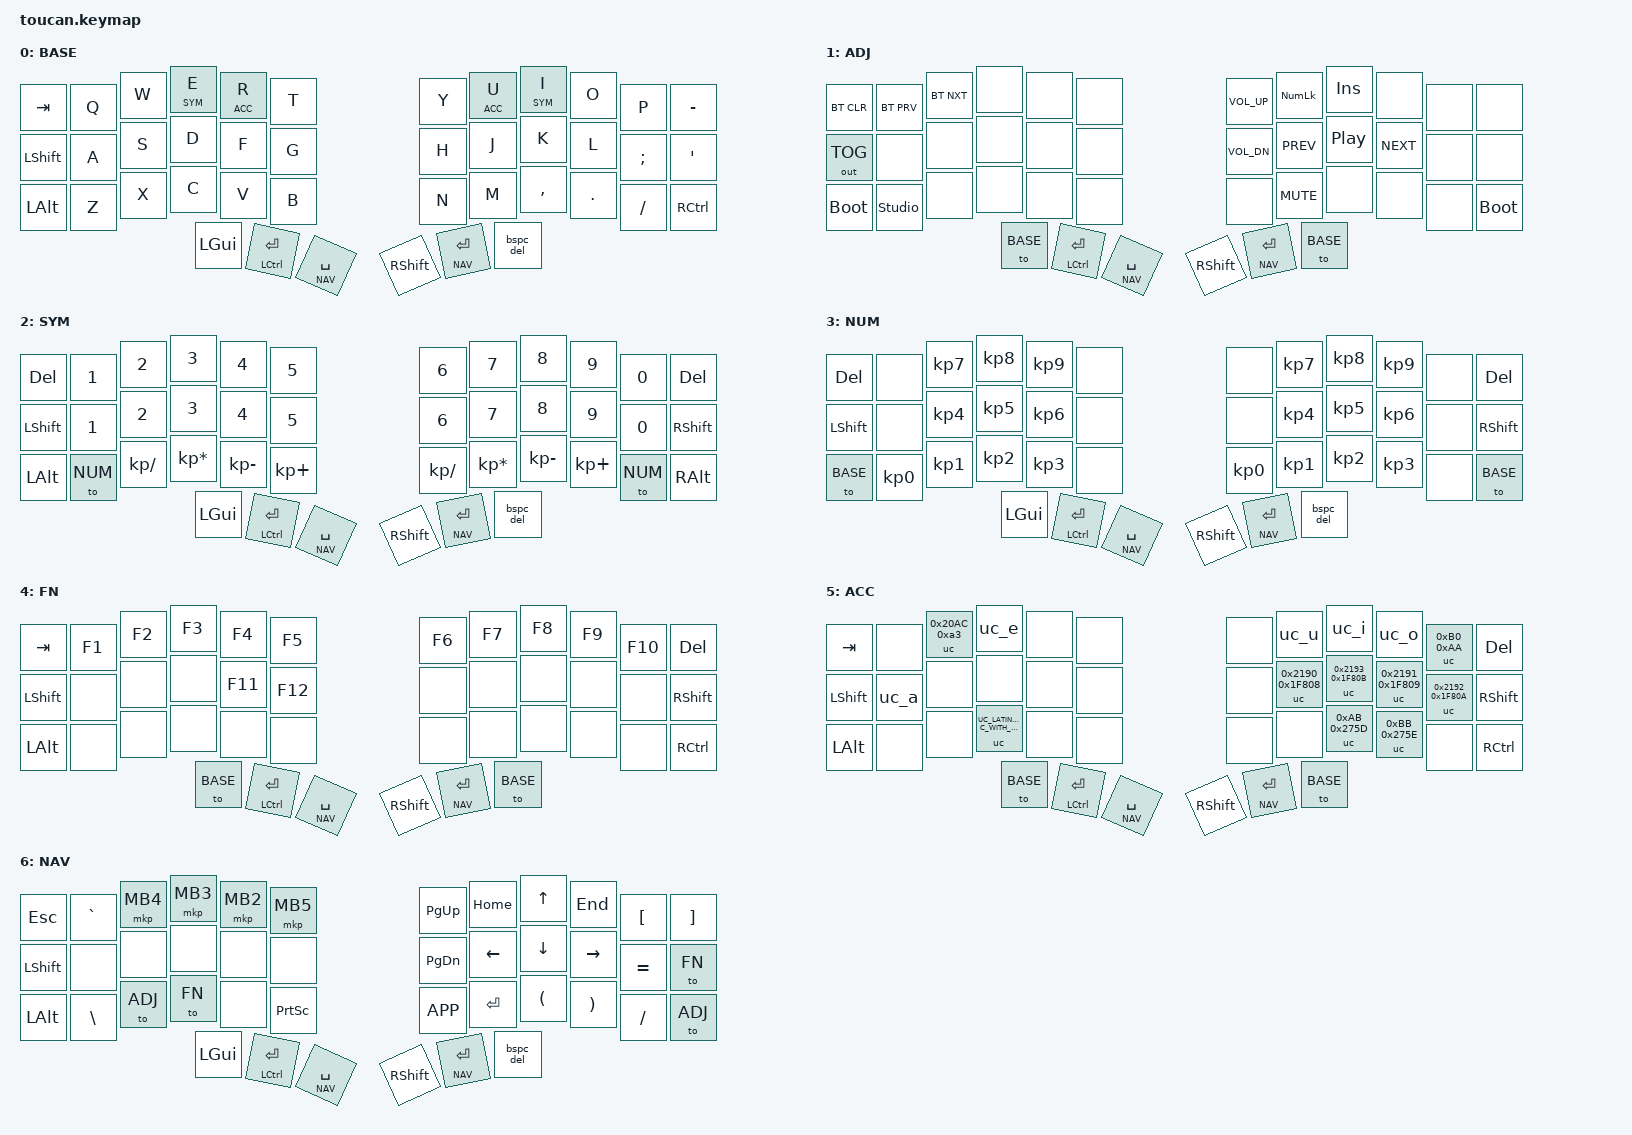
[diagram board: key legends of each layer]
#include <behaviors.dtsi>
#include <dt-bindings/zmk/keys.h>
#include <dt-bindings/zmk/bt.h>
#include <dt-bindings/zmk/outputs.h>
#include <dt-bindings/zmk/behaviors.h>
#include <dt-bindings/zmk/mouse.h>
#include "zmk-helpers/helper.h"
#include <behaviors/unicode.dtsi>
#include <zmk-unicode/keys-full.h>

#define BASE 0
#define ADJ  1
#define SYM  2
#define NUM  3
#define FN   4
#define ACC  5
#define NAV  6

#define _____ &trans
#define XXXXX &none

// Define mod-morph with a *single* mod trigger for less repetition.
#define SYMMETRIC_MORPH(NAME, MOD, BINDING1, BINDING2)                            \
  ZMK_MOD_MORPH(NAME, mods = <(MOD_L##MOD | MOD_R##MOD)>;                      \
                bindings = <BINDING1>, <BINDING2>;)

// TRI-MORPH
#define TRI_MORPH(NAME, B1, B2, B3)                 \
  SYMMETRIC_MORPH(int_##NAME##_1, CTL, B1, B2)      \
  SYMMETRIC_MORPH(NAME, ALT, &int_##NAME##_1, B3)

// tap: backspace | shift + tap: delete
ZMK_MOD_MORPH(bspc_del,
    bindings = <&kp BSPC>, <&kp DEL>;
    mods = <(MOD_LSFT|MOD_RSFT)>;
)

// tap: à | shift: À | lctrl: á | alt: ä  (shift applies to all)
TRI_MORPH(uc_a, &uc UC_LATIN_LETTER_A_WITH_GRAVE, &uc UC_LATIN_LETTER_A_WITH_ACUTE, &uc UC_LATIN_LETTER_A_WITH_DIAERESIS)
// tap: è | ctrl: é | alt: ë
TRI_MORPH(uc_e, &uc UC_LATIN_LETTER_E_WITH_GRAVE, &uc UC_LATIN_LETTER_E_WITH_ACUTE, &uc UC_LATIN_LETTER_E_WITH_DIAERESIS)
// tap: ì | ctrl: í | alt: ï
TRI_MORPH(uc_i, &uc UC_LATIN_LETTER_I_WITH_GRAVE, &uc UC_LATIN_LETTER_I_WITH_ACUTE, &uc UC_LATIN_LETTER_I_WITH_DIAERESIS)
// tap: ò | ctrl: ó | alt: ö
TRI_MORPH(uc_o, &uc UC_LATIN_LETTER_O_WITH_GRAVE, &uc UC_LATIN_LETTER_O_WITH_ACUTE, &uc UC_LATIN_LETTER_O_WITH_DIAERESIS)
// tap: ù | ctrl: ú | alt: ü
TRI_MORPH(uc_u, &uc UC_LATIN_LETTER_U_WITH_GRAVE, &uc UC_LATIN_LETTER_U_WITH_ACUTE, &uc UC_LATIN_LETTER_U_WITH_DIAERESIS)
// tap: ç | shift: Ç
#define uc_c &uc UC_LATIN_LETTER_C_WITH_CEDILLA

#define uc_aq_lx &uc 0xAB 0x275D // « | ❝
#define uc_aq_rx &uc 0xBB 0x275E // » | ❞
#define uc_dg &uc 0xB0 0xAA // ° | ª
#define uc_eu &uc 0x20AC 0xa3   // € | £
#define uc_lx &uc 0x2190 0x1F808  // ← | 🠈
#define uc_up &uc 0x2191 0x1F809  // ↑ | 🠉
#define uc_rx &uc 0x2192 0x1F80A  // → | 🠊
#define uc_dw &uc 0x2193 0x1F80B  // ↓ | 🠋

/ {
    conditional_layers {compatible = "zmk,conditional-layers";};

    behaviors {
        my_lt: layer_tap {
            compatible = "zmk,behavior-hold-tap";
            #binding-cells = <2>;
            flavor = "balanced";
            tapping-term-ms = <250>;
            bindings = <&mo>, <&kp>;
            display-name = "My-Layer-Tap";
        };
    };

    combos {
        compatible = "zmk,combos";
        combo_caps_lock {
            timeout-ms = <50>;
            key-positions = <12 39>;
            bindings = <&kp CAPS>;
            layers = <BASE>;
        };
        combo_to_base {
            timeout-ms = <50>;
            key-positions = <0 11>;
            bindings = <&to BASE>;
        };
    };

    uc {
        default-mode = <UC_MODE_WIN_COMPOSE>;
    };

    keymap {
        compatible = "zmk,keymap";

        base {
            display-name = "BASE";
            bindings = <
                &kp TAB   &kp Q &kp W &my_lt SYM E &my_lt ACC R &kp T           &kp Y &my_lt ACC U  &my_lt SYM I     &kp O   &kp P    &kp MINUS
                &kp LSHFT &kp A &kp S &kp D &kp F &kp G             &kp H &kp J  &kp K     &kp L   &kp SEMI &kp SQT
                &kp LALT &kp Z &kp X &kp C &kp V &kp B              &kp N &kp M  &kp COMMA &kp DOT &kp FSLH &kp RCTRL
                        &kp LGUI &mt LCTRL RET &my_lt NAV SPACE      &kp RSHFT &my_lt NAV RET &bspc_del
            >;
        };

        adj {
            display-name = "ADJ";
            bindings = <
                &bt BT_CLR &bt BT_PRV &bt BT_NXT &none &none &none          &kp C_VOL_UP &kp KP_NUM &kp INS &none &none &none
                &out OUT_TOG &none &none &none &none &none                  &kp C_VOL_DN &kp C_PREV &kp C_PP &kp C_NEXT &none &none
                &bootloader &studio_unlock &none &none &none &none          &none &kp C_MUTE   &none &none &none &bootloader
                            &to BASE &mt LCTRL RET &my_lt NAV SPACE      &kp RSHFT &my_lt NAV RET   &to BASE
            >;
        };

        sym {
                display-name = "SYM";
                bindings = <
                &kp DEL   &kp N1   &kp N2 &kp N3   &kp N4   &kp N5                                  &kp N6 &kp N7 &kp N8 &kp N9 &kp N0 &kp DEL
                &kp LSHFT &kp N1   &kp N2 &kp N3   &kp N4   &kp N5                                  &kp N6 &kp N7 &kp N8 &kp N9 &kp N0 &kp RSHFT
                &kp LALT &to NUM &kp KP_DIVIDE &kp KP_ASTERISK &kp KP_MINUS &kp KP_PLUS       &kp KP_DIVIDE &kp KP_ASTERISK &kp KP_MINUS &kp KP_PLUS &to NUM &kp RALT
                            &kp LGUI &mt LCTRL RET &my_lt NAV SPACE                         &kp RSHFT &my_lt NAV RET &bspc_del
            >;
        };

        num {
            display-name = "NUM";
            bindings = <
                &kp DEL   &none &kp KP_N7 &kp KP_N8 &kp KP_N9 &none          &none &kp KP_N7 &kp KP_N8 &kp KP_N9 &none &kp DEL
                &kp LSHFT &none &kp KP_N4 &kp KP_N5 &kp KP_N6 &none          &none &kp KP_N4 &kp KP_N5 &kp KP_N6 &none &kp RSHFT
                &to BASE  &kp KP_N0 &kp KP_N1 &kp KP_N2 &kp KP_N3 &none       &kp KP_N0 &kp KP_N1 &kp KP_N2 &kp KP_N3 &none &to BASE
                            &kp LGUI &mt LCTRL RET &my_lt NAV SPACE      &kp RSHFT &my_lt NAV RET &bspc_del
            >;
        };

        fn {
            display-name = "FN";
            bindings = <
                &kp TAB   &kp F1 &kp F2 &kp F3 &kp F4 &kp F5                    &kp F6 &kp F7 &kp F8 &kp F9 &kp F10  &kp DEL
                &kp LSHFT &none &none &none &kp F11 &kp F12                     &none &none &none &none &none &kp RSHFT
                &kp LALT  &none &none &none &none &none                         &none &none &none &none &none &kp RCTRL
                            &to BASE &mt LCTRL RET &my_lt NAV SPACE      &kp RSHFT &my_lt NAV RET &to BASE
            >;
        };

        acc {
            display-name = "ACC";
            bindings = <
                   &kp TAB   XXXXX uc_eu &uc_e XXXXX XXXXX               XXXXX &uc_u &uc_i &uc_o uc_dg &kp DEL
                   &kp LSHFT &uc_a XXXXX XXXXX XXXXX XXXXX               XXXXX uc_lx uc_dw uc_up uc_rx &kp RSHFT
                   &kp LALT  XXXXX XXXXX uc_c XXXXX XXXXX                XXXXX XXXXX uc_aq_lx uc_aq_rx XXXXX &kp RCTRL
                            &to BASE &mt LCTRL RET &my_lt NAV SPACE      &kp RSHFT &my_lt NAV RET &to BASE
           >;
        };

        nav {
            display-name = "NAV";
            bindings = <
                &kp ESC &kp GRAVE &mkp MB4 &mkp MB3 &mkp MB2 &mkp MB5       &kp PG_UP &kp HOME  &kp UP     &kp END     &kp LEFT_BRACKET  &kp RIGHT_BRACKET
                &kp LSHFT &none &none &none &none &none                     &kp PG_DN &kp LEFT  &kp DOWN   &kp RIGHT   &kp EQUAL       &to FN
                &kp LALT &kp BSLH &to ADJ &to FN &none &kp PSCRN           &kp K_APP &kp ENTER  &kp LEFT_PARENTHESIS &kp RIGHT_PARENTHESIS &kp FSLH &to ADJ
                               &kp LGUI &mt LCTRL RET &my_lt NAV SPACE      &kp RSHFT &my_lt NAV RET &bspc_del
            >;
        };

        extra_1 {
                status = "reserved";
        };
    };
};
